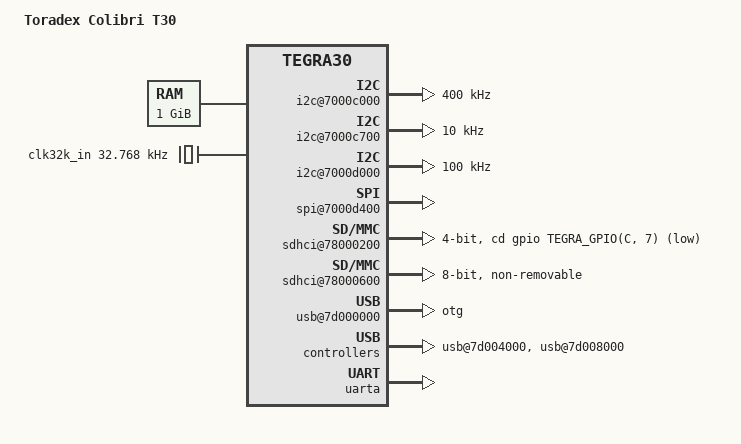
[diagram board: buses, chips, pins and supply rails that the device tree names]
/dts-v1/;

#include "tegra30.dtsi"

/ {
	model = "Toradex Colibri T30";
	compatible = "toradex,colibri_t30", "nvidia,tegra30";

	chosen {
		stdout-path = &uarta;
	};

	aliases {
		i2c0 = "/i2c@7000d000";
		i2c1 = "/i2c@7000c000";
		i2c2 = "/i2c@7000c700";
		mmc0 = "/sdhci@78000600";
		mmc1 = "/sdhci@78000200";
		spi0 = "/spi@7000d400";
		usb0 = "/usb@7d000000";
		usb1 = "/usb@7d004000"; /* on module only, for ASIX */
		usb2 = "/usb@7d008000";
	};

	memory {
		device_type = "memory";
		reg = <0x80000000 0x40000000>;
	};

	/*
	 * GEN1_I2C: I2C_SDA/SCL on SODIMM pin 194/196 (e.g. RTC on carrier
	 * board)
	 */
	i2c@7000c000 {
		status = "okay";
		clock-frequency = <400000>;
	};

	/* GEN2_I2C: unused */

	/* CAM_I2C: unused */

	/* DDC_CLOCK/DATA on X3 pin 15/16 (e.g. display EDID) */
	i2c@7000c700 {
		status = "okay";
		clock-frequency = <10000>;
	};

	/*
	 * PWR_I2C: power I2C to audio codec, PMIC, temperature sensor and
	 * touch screen controller
	 */
	i2c@7000d000 {
		status = "okay";
		clock-frequency = <100000>;
	};

	/* SPI1: Colibri SSP */
	spi@7000d400 {
		status = "okay";
		spi-max-frequency = <25000000>;
	};

	sdhci@78000200 {
		status = "okay";
		bus-width = <4>;
		cd-gpios = <&gpio TEGRA_GPIO(C, 7) GPIO_ACTIVE_LOW>; /* MMCD */
	};

	sdhci@78000600 {
		status = "okay";
		bus-width = <8>;
		non-removable;
	};

	/* EHCI instance 0: USB1_DP/N -> USBC_P/N */
	usb@7d000000 {
		status = "okay";
		dr_mode = "otg";
	};

	/* EHCI instance 1: USB2_DP/N -> AX88772B */
	usb@7d004000 {
		status = "okay";
		/* VBUS_LAN */
		nvidia,vbus-gpio = <&gpio TEGRA_GPIO(DD, 2) GPIO_ACTIVE_HIGH>;
	};

	/* EHCI instance 2: USB3_DP/N -> USBH_P/N */
	usb@7d008000 {
		status = "okay";
		/* USBH_PEN */
		nvidia,vbus-gpio = <&gpio TEGRA_GPIO(W, 2) GPIO_ACTIVE_LOW>;
	};

	clocks {
		compatible = "simple-bus";
		#address-cells = <1>;
		#size-cells = <0>;

		clk32k_in: clk@0 {
			compatible = "fixed-clock";
			reg=<0>;
			#clock-cells = <0>;
			clock-frequency = <32768>;
		};
	};
};

&uarta {
	status = "okay";
};
